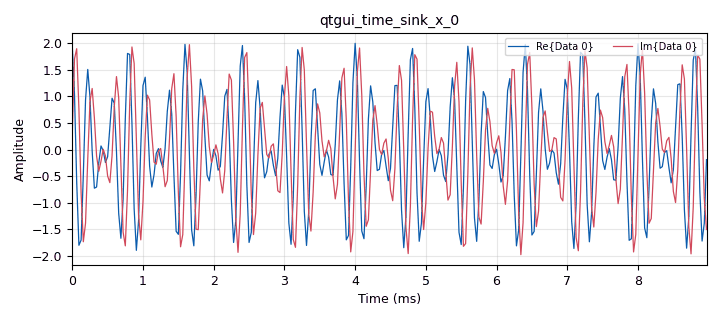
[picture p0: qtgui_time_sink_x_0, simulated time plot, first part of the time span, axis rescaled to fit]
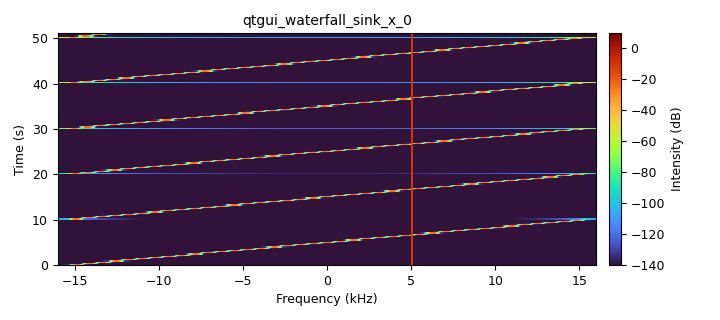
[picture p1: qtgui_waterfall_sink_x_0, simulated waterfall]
options:
  parameters:
    generate_options: qt_gui
    id: testtone_generator
    output_language: python
    title: Not titled yet
  states: {}

blocks:
- name: samp_rate
  id: variable
  parameters:
    value: 32e3
  states: {}
- name: analog_frequency_modulator_fc_0
  id: analog_frequency_modulator_fc
  parameters:
    sensitivity: '1'
  states: {}
- name: analog_sig_source_x_0
  id: analog_sig_source_x
  parameters:
    amp: '6'
    freq: '0.100'
    offset: '-3'
    phase: '-3.14'
    samp_rate: samp_rate
    type: float
    waveform: analog.GR_SAW_WAVE
  states: {}
- name: analog_sig_source_x_1
  id: analog_sig_source_x
  parameters:
    amp: '1'
    freq: 5e3
    offset: '0'
    phase: '0'
    samp_rate: samp_rate
    type: complex
    waveform: analog.GR_COS_WAVE
  states: {}
- name: blocks_add_xx_0
  id: blocks_add_xx
  parameters:
    type: complex
  states: {}
- name: blocks_file_sink_1
  id: blocks_file_sink
  parameters:
    file: C:\Users\Jaden\Desktop\chirpgit\samp32k_sweep3000_trans5k.raw
    type: complex
  states: {state: disabled}
- name: blocks_throttle_0_0
  id: blocks_throttle
  parameters:
    samples_per_second: samp_rate
    type: complex
  states: {}
- name: qtgui_time_sink_x_0
  id: qtgui_time_sink_x
  parameters:
    size: '1024'
    srate: samp_rate
    type: complex
  states: {}
- name: qtgui_waterfall_sink_x_0
  id: qtgui_waterfall_sink_x
  parameters:
    bw: samp_rate
    fc: '0'
    fftsize: '8192'
    type: complex
  states: {}

connections:
- [analog_frequency_modulator_fc_0, '0', blocks_add_xx_0, '0']
- [analog_sig_source_x_0, '0', analog_frequency_modulator_fc_0, '0']
- [analog_sig_source_x_1, '0', blocks_add_xx_0, '1']
- [blocks_add_xx_0, '0', blocks_throttle_0_0, '0']
- [blocks_throttle_0_0, '0', blocks_file_sink_1, '0']
- [blocks_throttle_0_0, '0', qtgui_time_sink_x_0, '0']
- [blocks_throttle_0_0, '0', qtgui_waterfall_sink_x_0, '0']

metadata:
  file_format: 1
  grc_version: 3.10.5.0
